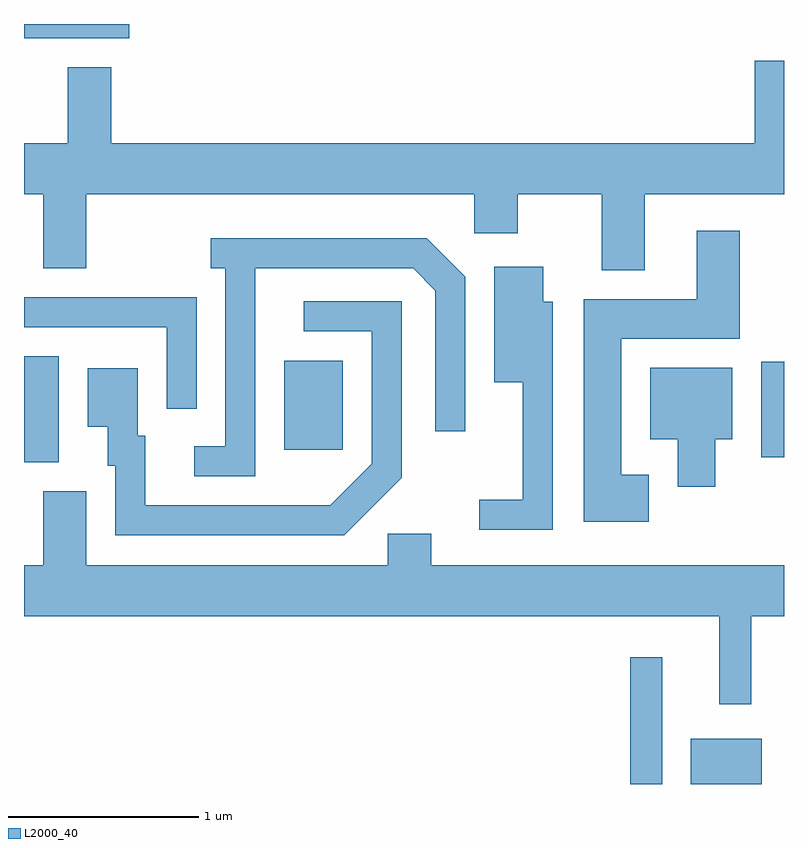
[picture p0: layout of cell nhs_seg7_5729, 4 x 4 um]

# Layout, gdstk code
import gdstk
lib = gdstk.Library(unit=1e-6, precision=1e-09)
def R(c, l, rs):  # rectangles x0, y0, x1, y1
    for r in rs: c.add(gdstk.rectangle(r[:2], r[2:], *l))
def P(c, l, *ps):  # polygons
    for p in ps: c.add(gdstk.Polygon(p, *l))
L2000_40 = (2000, 40)

nhs_seg7_5729 = lib.new_cell('nhs_seg7_5729')
R(nhs_seg7_5729, L2000_40, [(362.801,1782.252,362.969,1782.918), (363.121,1782.252,363.494,1782.489), (359.611,1783.946,359.794,1784.504), (363.491,1783.971,363.611,1784.474), (360.981,1784.011,361.289,1784.479), (359.611,1786.176,360.164,1786.252)])
P(nhs_seg7_5729, L2000_40, [(362.879,1785.356),(363.611,1785.356),(363.611,1786.058),(363.456,1786.058),(363.456,1785.624),(360.069,1785.624),(360.069,1786.024),(359.841,1786.024),(359.841,1785.624),(359.611,1785.624),(359.611,1785.356),(359.711,1785.356),(359.711,1784.966),(359.939,1784.966),(359.939,1785.356),(361.981,1785.356),(361.981,1785.151),(362.209,1785.151),(362.209,1785.356),(362.651,1785.356),(362.651,1784.956),(362.879,1784.956)],
  [(362.899,1783.879),(362.754,1783.879),(362.754,1784.596),(363.379,1784.596),(363.379,1785.164),(363.151,1785.164),(363.151,1784.804),(362.556,1784.804),(362.556,1783.631),(362.899,1783.631)],
  [(360.829,1784.966),(361.659,1784.966),(361.776,1784.849),(361.776,1784.108),(361.934,1784.108),(361.934,1784.922),(361.732,1785.124),(360.593,1785.124),(360.593,1784.966),(360.671,1784.966),(360.671,1784.029),(360.508,1784.029),(360.508,1783.871),(360.829,1783.871)],
  [(362.394,1784.789),(362.344,1784.789),(362.344,1784.974),(362.086,1784.974),(362.086,1784.366),(362.236,1784.366),(362.236,1783.749),(362.008,1783.749),(362.008,1783.591),(362.394,1783.591)],
  [(360.519,1784.814),(359.611,1784.814),(359.611,1784.656),(360.361,1784.656),(360.361,1784.228),(360.519,1784.228)],
  [(361.599,1783.864),(361.599,1784.794),(361.083,1784.794),(361.083,1784.636),(361.441,1784.636),(361.441,1783.937),(361.224,1783.719),(360.249,1783.719),(360.249,1784.084),(360.209,1784.084),(360.209,1784.439),(359.946,1784.439),(359.946,1784.131),(360.051,1784.131),(360.051,1783.926),(360.091,1783.926),(360.091,1783.561),(361.297,1783.561)],
  [(363.249,1784.066),(363.339,1784.066),(363.339,1784.444),(362.906,1784.444),(362.906,1784.066),(363.051,1784.066),(363.051,1783.816),(363.249,1783.816)],
  [(363.439,1783.136),(363.611,1783.136),(363.611,1783.404),(361.754,1783.404),(361.754,1783.569),(361.526,1783.569),(361.526,1783.404),(359.939,1783.404),(359.939,1783.794),(359.711,1783.794),(359.711,1783.404),(359.611,1783.404),(359.611,1783.136),(363.271,1783.136),(363.271,1782.673),(363.439,1782.673)])

lib.write_gds('nhs_seg7_5729.gds')
